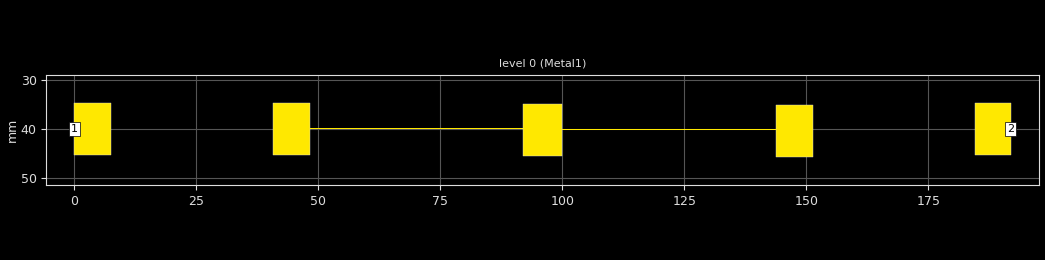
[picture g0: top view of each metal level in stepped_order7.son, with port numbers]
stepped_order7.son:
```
FTYP SONPROJ 19 ! Sonnet Project File
VER 18.53
HEADER
LIC SL61ea36e0
DAT 02/17/2022 22:16:26
BUILT_BY_CREATED xgeom 18.53-Lite 02/16/2022 15:56:57
BUILT_BY_SAVED sonnet 18.53-Lite
MDATE 02/16/2022 16:14:01
HDATE 02/16/2022 16:14:01
END HEADER
DIM
ANG DEG
CAP PF
CON /OH
FREQ GHZ
IND NH
LNG MM
RES OH
END DIM
CONTROL
VARSWP
OPTIONS  -d
SPEED 0
CACHE_ABS 2
Q_ACC N
END CONTROL
GEO
TMET "Free Space" 0 FREESPACE 376.7303136 0 0 0
BMET "Copper" 1 NOR 58000000 0.5 0.035 
MET "Copper" 1 NOR 58000000 0.5 0.035 
BOX 1 191.9 80 3838 1600 20 0
      20 1 1 0 0 0 0 "Air"
      1.6 4.4 1 0.02 0 0 0 "FR-4"
TECHLAY METAL Metal1 <UNSPECIFIED> -2 -65534 
0 0 0 N 49 1 1 100 100 0 0 0 Y
END
END
LORGN 0 6.35 U 
POR1 BOX
POLY 24 1
3
1 50 0 0 0 1.998401444e-15 40 
POR1 BOX
POLY 39 1
1
2 50 0 0 0 191.9 40 
NUM 9
0 5 0 N 24 1 1 100 100 0 0 0 Y
TLAYNAM Metal1 INH
1.998401444e-15 34.7
7.4 34.7
7.4 45.3
1.998401444e-15 45.3
1.998401444e-15 34.7
END
0 5 0 N 30 1 1 100 100 0 0 0 Y
TLAYNAM Metal1 INH
7.4 39.95
40.6 39.95
40.6 40.05
7.4 40.05
7.4 39.95
END
0 5 0 N 31 1 1 100 100 0 0 0 Y
TLAYNAM Metal1 INH
151.3 40
184.5 40
184.5 40.1
151.3 40.1
151.3 40
END
0 5 0 N 32 1 1 100 100 0 0 0 Y
TLAYNAM Metal1 INH
40.6 34.65
48.2 34.65
48.2 45.35
40.6 45.35
40.6 34.65
END
0 5 0 N 33 1 1 100 100 0 0 0 Y
TLAYNAM Metal1 INH
143.7 35.1
151.3 35.1
151.3 45.8
143.7 45.8
143.7 35.1
END
0 5 0 N 34 1 1 100 100 0 0 0 Y
TLAYNAM Metal1 INH
48.2 39.9
92 39.9
92 40.1
48.2 40.1
48.2 39.9
END
0 5 0 N 35 1 1 100 100 0 0 0 Y
TLAYNAM Metal1 INH
99.9 40
143.7 40
143.7 40.2
99.9 40.2
99.9 40
END
0 5 0 N 36 1 1 100 100 0 0 0 Y
TLAYNAM Metal1 INH
92 34.8
99.9 34.8
99.9 45.5
92 45.5
92 34.8
END
0 5 0 N 39 1 1 100 100 0 0 0 Y
TLAYNAM Metal1 INH
184.5 34.7
191.9 34.7
191.9 45.3
184.5 45.3
184.5 34.7
END
END GEO
OPT
MAX 100
END OPT
VARSWP
ENABLED Y
FREQ Y AN SWEEP 0.05 3.0 0.05
END
END VARSWP
```
